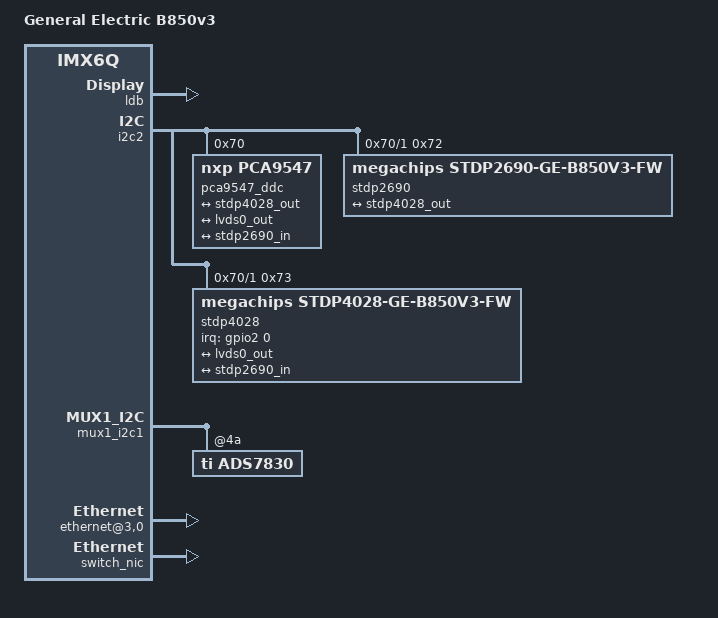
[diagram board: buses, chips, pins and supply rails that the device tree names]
/*
 * Copyright 2015 Timesys Corporation.
 * Copyright 2015 General Electric Company
 *
 * This file is dual-licensed: you can use it either under the terms
 * of the GPL or the X11 license, at your option. Note that this dual
 * licensing only applies to this file, and not this project as a
 * whole.
 *
 *  a) This file is free software; you can redistribute it and/or
 *     modify it under the terms of the GNU General Public License
 *     version 2 as published by the Free Software Foundation.
 *
 *     This file is distributed in the hope that it will be useful,
 *     but WITHOUT ANY WARRANTY; without even the implied warranty of
 *     MERCHANTABILITY or FITNESS FOR A PARTICULAR PURPOSE.  See the
 *     GNU General Public License for more details.
 *
 * Or, alternatively,
 *
 *  b) Permission is hereby granted, free of charge, to any person
 *     obtaining a copy of this software and associated documentation
 *     files (the "Software"), to deal in the Software without
 *     restriction, including without limitation the rights to use,
 *     copy, modify, merge, publish, distribute, sublicense, and/or
 *     sell copies of the Software, and to permit persons to whom the
 *     Software is furnished to do so, subject to the following
 *     conditions:
 *
 *     The above copyright notice and this permission notice shall be
 *     included in all copies or substantial portions of the Software.
 *
 *     THE SOFTWARE IS PROVIDED "AS IS", WITHOUT WARRANTY OF ANY KIND,
 *     EXPRESS OR IMPLIED, INCLUDING BUT NOT LIMITED TO THE WARRANTIES
 *     OF MERCHANTABILITY, FITNESS FOR A PARTICULAR PURPOSE AND
 *     NONINFRINGEMENT. IN NO EVENT SHALL THE AUTHORS OR COPYRIGHT
 *     HOLDERS BE LIABLE FOR ANY CLAIM, DAMAGES OR OTHER LIABILITY,
 *     WHETHER IN AN ACTION OF CONTRACT, TORT OR OTHERWISE, ARISING
 *     FROM, OUT OF OR IN CONNECTION WITH THE SOFTWARE OR THE USE OR
 *     OTHER DEALINGS IN THE SOFTWARE.
 */

/dts-v1/;

#include "imx6q-bx50v3.dtsi"

/ {
	model = "General Electric B850v3";
	compatible = "ge,imx6q-b850v3", "advantech,imx6q-ba16", "fsl,imx6q";

	chosen {
		stdout-path = &uart3;
	};
};

&clks {
	assigned-clocks = <&clks IMX6QDL_CLK_LDB_DI0_SEL>,
			  <&clks IMX6QDL_CLK_LDB_DI1_SEL>,
			  <&clks IMX6QDL_CLK_IPU1_DI0_PRE_SEL>,
			  <&clks IMX6QDL_CLK_IPU2_DI0_PRE_SEL>;
	assigned-clock-parents = <&clks IMX6QDL_CLK_PLL5_VIDEO_DIV>,
				 <&clks IMX6QDL_CLK_PLL5_VIDEO_DIV>,
				 <&clks IMX6QDL_CLK_PLL2_PFD2_396M>,
				 <&clks IMX6QDL_CLK_PLL2_PFD2_396M>;
};

&ldb {
	fsl,dual-channel;
	status = "okay";

	lvds0: lvds-channel@0 {
		fsl,data-mapping = "spwg";
		fsl,data-width = <24>;
		status = "okay";

		port@4 {
			reg = <4>;

			lvds0_out: endpoint {
				remote-endpoint = <&stdp4028_in>;
			};
		};
	};
};

&i2c2 {
	pca9547_ddc: mux@70 {
		compatible = "nxp,pca9547";
		reg = <0x70>;
		#address-cells = <1>;
		#size-cells = <0>;

		mux2_i2c1: i2c@0 {
			#address-cells = <1>;
			#size-cells = <0>;
			reg = <0x0>;
		};

		mux2_i2c2: i2c@1 {
			#address-cells = <1>;
			#size-cells = <0>;
			reg = <0x1>;
		};

		mux2_i2c3: i2c@2 {
			#address-cells = <1>;
			#size-cells = <0>;
			reg = <0x2>;
		};

		mux2_i2c4: i2c@3 {
			#address-cells = <1>;
			#size-cells = <0>;
			reg = <0x3>;
		};

		mux2_i2c5: i2c@4 {
			#address-cells = <1>;
			#size-cells = <0>;
			reg = <0x4>;
		};

		mux2_i2c6: i2c@5 {
			#address-cells = <1>;
			#size-cells = <0>;
			reg = <0x5>;
		};

		mux2_i2c7: i2c@6 {
			#address-cells = <1>;
			#size-cells = <0>;
			reg = <0x6>;
		};

		mux2_i2c8: i2c@7 {
			#address-cells = <1>;
			#size-cells = <0>;
			reg = <0x7>;
		};
	};
};

&hdmi {
	ddc-i2c-bus = <&mux2_i2c1>;
};

&mux1_i2c1 {
	ads7830@4a {
		compatible = "ti,ads7830";
		reg = <0x4a>;
	};
};

&mux2_i2c2 {
	clock-frequency = <100000>;

	stdp2690@72 {
		compatible = "megachips,stdp2690-ge-b850v3-fw";
		#address-cells = <1>;
		#size-cells = <0>;
		reg = <0x72>;

		ports {
			#address-cells = <1>;
			#size-cells = <0>;

			port@0 {
				reg = <0>;

				stdp2690_in: endpoint {
					remote-endpoint = <&stdp4028_out>;
				};
			};

			port@1 {
				reg = <1>;

				stdp2690_out: endpoint {
					/* Connector for external display */
				};
			};
		};
	};

	stdp4028@73 {
		compatible = "megachips,stdp4028-ge-b850v3-fw";
		#address-cells = <1>;
		#size-cells = <0>;
		reg = <0x73>;
		interrupt-parent = <&gpio2>;
		interrupts = <0 IRQ_TYPE_LEVEL_HIGH>;

		ports {
			#address-cells = <1>;
			#size-cells = <0>;

			port@0 {
				reg = <0>;

				stdp4028_in: endpoint {
					remote-endpoint = <&lvds0_out>;
				};
			};

			port@1 {
				reg = <1>;

				stdp4028_out: endpoint {
					remote-endpoint = <&stdp2690_in>;
				};
			};
		};
	};
};

&pci_root {
	/* PLX Technology, Inc. PEX 8605 PCI Express 4-port Gen2 Switch */
	bridge@1,0 {
		compatible = "pci10b5,8605";
		reg = <0x00010000 0 0 0 0>;

		#address-cells = <3>;
		#size-cells = <2>;
		#interrupt-cells = <1>;

		bridge@2,1 {
			compatible = "pci10b5,8605";
			reg = <0x00020800 0 0 0 0>;

			#address-cells = <3>;
			#size-cells = <2>;
			#interrupt-cells = <1>;

			/* Intel Corporation I210 Gigabit Network Connection */
			ethernet@3,0 {
				compatible = "pci8086,1533";
				reg = <0x00030000 0 0 0 0>;
			};
		};

		bridge@2,2 {
			compatible = "pci10b5,8605";
			reg = <0x00021000 0 0 0 0>;

			#address-cells = <3>;
			#size-cells = <2>;
			#interrupt-cells = <1>;

			/* Intel Corporation I210 Gigabit Network Connection */
			switch_nic: ethernet@4,0 {
				compatible = "pci8086,1533";
				reg = <0x00040000 0 0 0 0>;
			};
		};
	};
};

&switch_ports {
	port@0 {
		reg = <0>;
		label = "eneport1";
		phy-handle = <&switchphy0>;
	};

	port@1 {
		reg = <1>;
		label = "eneport2";
		phy-handle = <&switchphy1>;
	};

	port@2 {
		reg = <2>;
		label = "enix";
		phy-handle = <&switchphy2>;
	};

	port@3 {
		reg = <3>;
		label = "enid";
		phy-handle = <&switchphy3>;
	};

	port@4 {
		reg = <4>;
		label = "cpu";
		ethernet = <&switch_nic>;
		phy-handle = <&switchphy4>;
	};
};
